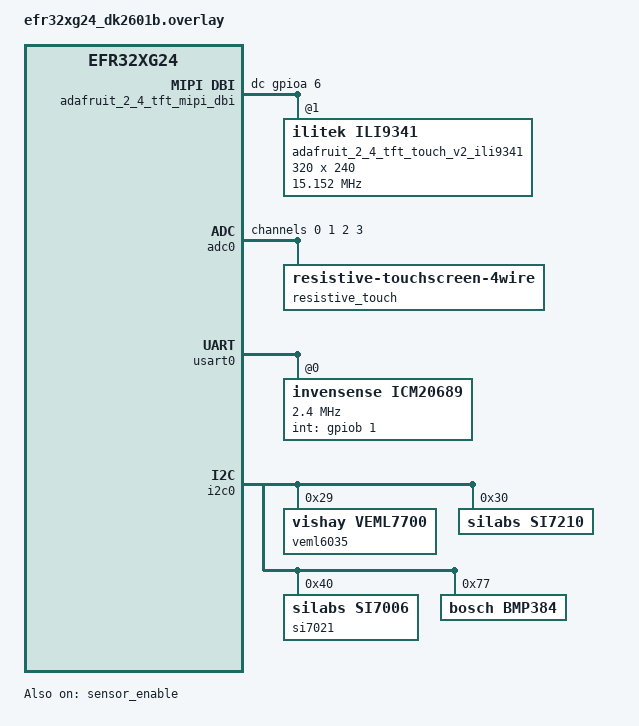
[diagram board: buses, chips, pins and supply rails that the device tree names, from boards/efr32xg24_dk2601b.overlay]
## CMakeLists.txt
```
# SPDX-License-Identifier: Apache-2.0

cmake_minimum_required(VERSION 3.20.0)
# set(CMAKE_OBJECT_PATH_MAX 300)
find_package(Zephyr REQUIRED HINTS $ENV{ZEPHYR_BASE})
project(xg24_sensors_lgvl)

target_sources(app PRIVATE src/main.c)
target_sources(app PRIVATE src/application_ui/ui_events.c)
target_sources(app PRIVATE src/application_ui/ui_helpers.c)
target_sources(app PRIVATE src/application_ui/ui.c)
target_sources(app PRIVATE src/application_ui/components/ui_comp_hook.c)
target_sources(app PRIVATE src/application_ui/images/ui_img_lvgl_logo_78_24_png.c)
target_sources(app PRIVATE src/application_ui/images/ui_img_25_png.c)
target_sources(app PRIVATE src/application_ui/images/ui_img_30_60_png.c)
target_sources(app PRIVATE src/application_ui/images/ui_img_35_67_png.c)
target_sources(app PRIVATE src/application_ui/images/ui_img_1597985048.c)
target_sources(app PRIVATE src/application_ui/screens/ui_ApplicationScreen.c)
target_sources(app PRIVATE src/application_ui/screens/ui_BootScreen.c)
target_sources(app PRIVATE src/application_ui/screens/ui_SettingScreen.c)
target_sources(app PRIVATE src/application_ui/screens/ui_TSCalibrationScreen.c)
target_include_directories(app PRIVATE ./
                                       src/application_ui)
target_sources(app PRIVATE src/bthome_v2.c)
```

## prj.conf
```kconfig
#CONFIG_NO_OPTIMIZATIONS=y

CONFIG_BT=y
CONFIG_BT_PERIPHERAL=y
CONFIG_GPIO=y

CONFIG_CBPRINTF_FP_SUPPORT=y
CONFIG_MAIN_STACK_SIZE=4096

CONFIG_MBEDTLS=y
CONFIG_MBEDTLS_BUILTIN=y
#CONFIG_MBEDTLS_ENTROPY_ENABLED=y
CONFIG_MBEDTLS_PSA_CRYPTO_C=y
CONFIG_MBEDTLS_CIPHER_AES_ENABLED=y
CONFIG_MBEDTLS_CIPHER_CCM_ENABLED=y
CONFIG_MBEDTLS_CIPHER_GCM_ENABLED=y

CONFIG_SENSOR=y
CONFIG_SPI=y
CONFIG_I2C=y
CONFIG_BMP384=y
CONFIG_ICM20689=y

CONFIG_ADC=y
CONFIG_INPUT=y
CONFIG_INPUT_RESISTIVE_TOUCHSCREEN_4WIRE=y

CONFIG_UART_CONSOLE=n
CONFIG_CONSOLE=n
CONFIG_SHELL=n

CONFIG_ILI9341=y
CONFIG_LVGL=y
CONFIG_LV_MEM_CUSTOM=y
CONFIG_LV_USE_LOG=y
CONFIG_LV_USE_LABEL=y
CONFIG_LV_USE_BTN=y
CONFIG_LV_USE_ARC=y
CONFIG_LV_USE_IMG=y
CONFIG_LV_USE_MONKEY=y
CONFIG_LV_FONT_MONTSERRAT_14=y
CONFIG_LV_Z_POINTER_INPUT=y
CONFIG_LV_Z_MEM_POOL_SIZE=30720
CONFIG_LV_FONT_MONTSERRAT_8=y
CONFIG_LV_FONT_MONTSERRAT_10=y
CONFIG_LV_FONT_MONTSERRAT_12=y
CONFIG_LV_FONT_MONTSERRAT_16=y
CONFIG_LV_FONT_MONTSERRAT_18=y
 
CONFIG_DISPLAY=y
CONFIG_LV_COLOR_DEPTH_16=y
CONFIG_LV_Z_BITS_PER_PIXEL=16
CONFIG_LV_COLOR_16_SWAP=y
CONFIG_LV_Z_VDB_SIZE=2
CONFIG_LV_Z_DOUBLE_VDB=y
```

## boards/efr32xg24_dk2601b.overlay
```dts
#include <silabs/gpio_gecko.h>
#include <zephyr/dt-bindings/input/input-resistive-touchscreen-4wire.h>
#include <zephyr/dt-bindings/display/ili9xxx.h>

/ {
	chosen {
		zephyr,display = &adafruit_2_4_tft_touch_v2_ili9341;
		sw0 = &button0;
	};
	
	aliases {
		touchscreen = &resistive_touch;
	};
 
	adafruit_2_4_tft_mipi_dbi {
		compatible = "zephyr,mipi-dbi-spi";
		spi-dev = <&usart0>;
		#address-cells = <1>;
		#size-cells = <0>;
		status = "okay";
		dc-gpios = <&gpioa 6 GPIO_ACTIVE_HIGH>;
		write-only;
		adafruit_2_4_tft_touch_v2_ili9341: ili9341@1 {
			compatible = "ilitek,ili9341";
			mipi-max-frequency = <15151515>;
			reg = <1>;
			height = <240>;
			width = <320>;
			pixel-format = <ILI9XXX_PIXEL_FORMAT_RGB565>;
			// display-inversion;
			rotation = <90>;
			// mipi-hold-cs;
			pwctrla = [39 2C 00 34 02];
			pwctrlb = [00 C1 30];
			pwseqctrl = [64 03 12 81];
			timctrla = [85 00 78];
			timctrlb = [00 00];
			pumpratioctrl = [20];
			pwctrl1 = [23];
			pwctrl2 = [10];
			gamset = [01];
			frmctr1 = [00 18];
			disctrl = [08 82 27 04];
			vmctrl1 = [3e 28];
			vmctrl2 = [86];
			pgamctrl = [0f 31 2b 0c 0e 08 4e f1 37 07 10 03 0e 09 00];
			ngamctrl = [00 0e 14 03 11 07 31 c1 48 08 0f 0c 31 36 0f];
			status = "okay";
		};
	};

	lvgl_pointer {
		compatible = "zephyr,lvgl-pointer-input";
		input = <&resistive_touch>;
		// swap-xy;
		// invert-x;
		// invert-y;
	};
};

&adc0 {
	status = "okay";
	#address-cells = <1>;
	#size-cells = <0>;

	channel@0 {
		reg = <0>;
		zephyr,gain = "ADC_GAIN_1";
		zephyr,reference = "ADC_REF_VDD_1";
		zephyr,acquisition-time = <ADC_ACQ_TIME_DEFAULT>;
		zephyr,resolution = <12>;
		zephyr,input-positive = <(((1 + 8) << 4) | 2)>; // XM = PB2
	};

	channel@1 {
		reg = <1>;
		zephyr,gain = "ADC_GAIN_1";
		zephyr,reference = "ADC_REF_VDD_1";
		zephyr,acquisition-time = <ADC_ACQ_TIME_DEFAULT>;
		zephyr,resolution = <12>;
		zephyr,input-positive = <(((3 + 8) << 4) | 2)>; // XP = PD2
	};

	channel@2 {
		reg = <2>;
		zephyr,gain = "ADC_GAIN_1";
		zephyr,reference = "ADC_REF_VDD_1";
		zephyr,acquisition-time = <ADC_ACQ_TIME_DEFAULT>;
		zephyr,resolution = <12>;
		zephyr,input-positive = <(((1 + 8) << 4) | 3)>; // YM = PB3
	};

	channel@3 {
		reg = <3>;
		zephyr,gain = "ADC_GAIN_1";
		zephyr,reference = "ADC_REF_VDD_1";
		zephyr,acquisition-time = <ADC_ACQ_TIME_DEFAULT>;
		zephyr,resolution = <12>;
		zephyr,input-positive = <(((1 + 8) << 4) | 0)>; // YP = PB0
	};

	resistive_touch: resistive_touch {
		compatible = "resistive-touchscreen-4wire";
		poll-period-ms = <15>;
		h-res = <240>;
		v-res = <320>;
		x-min = <440>;
		x-max = <3340>;
		y-min = <330>;
		y-max = <3360>;
		r-xplate = <200>;
		r-touch-threshold = "600.0";
		XM {
			io-channels = <&adc0 0>;
			zephyr,wire = <INPUT_4WIRE_TS_XM>;
			control-gpios = <&gpiob 2 GPIO_ACTIVE_HIGH>;
		};

		XP {
			io-channels = <&adc0 1>;
			zephyr,wire = <INPUT_4WIRE_TS_XP>;
			control-gpios = <&gpiod 2 GPIO_ACTIVE_HIGH>;
		};

		YM {
			io-channels = <&adc0 2>;
			zephyr,wire = <INPUT_4WIRE_TS_YM>;
			control-gpios = <&gpiob 3 GPIO_ACTIVE_HIGH>;
		};

		YP {
			io-channels = <&adc0 3>;
			zephyr,wire = <INPUT_4WIRE_TS_YP>;
			control-gpios = <&gpiob 0 GPIO_ACTIVE_HIGH>;
		};
  };
};

&usart0 {
  /delete-property/ current-speed;
  /delete-property/ peripheral-id;
  compatible = "silabs,gecko-spi-usart";
  reg = <0x5005C000 0x400>;
  #address-cells = <1>;
  #size-cells = <0>;
  interrupts = <16 0>, <17 0>;
	status = "okay";
	cs-gpios = <&gpioa 7 GPIO_ACTIVE_LOW>, <&gpioa 5 GPIO_ACTIVE_LOW>;

	icm20689@0 {
		compatible = "invensense,icm20689";
		spi-max-frequency = <2400000>;
		reg = <0>;
		int-gpios = <&gpiob 1 GPIO_ACTIVE_HIGH>;
		accel-bw = <1046>;
		accel-fs = <2>;
		gyro-bw = <41>;
		gyro-fs = <250>;
		status = "okay";
	};

};

&pinctrl {
	/* configuration for usart0 device, operating as SPI */
	usart0_default: usart0_default {
		group1 {
			psels = <GECKO_PSEL(SPI_SCK, C, 1)>,
				<GECKO_PSEL(SPI_MOSI, C, 3)>,
				<GECKO_PSEL(SPI_MISO, C, 2)>;
		};
	};
};

&i2c0 {
	status = "okay";

	veml6035: veml6035@29 {
		compatible = "vishay,veml7700";
		reg = <0x29>;
		status = "okay";
	};

	si7210: si7210@30 {
		compatible = "silabs,si7210";
		reg = <0x30>;
		status = "okay";
	};

	si7021: si7021@40 {
		compatible = "silabs,si7006";
		reg = <0x40>;
		status = "okay";
	};
	bmp384: bmp384@77 {
		compatible = "bosch,bmp384";
		reg = <0x77>;
		status = "okay";
	};
};

&sensor_enable {
	startup-delay-us = <100000>;
	status = "okay";
};
```

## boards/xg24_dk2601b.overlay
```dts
/*
 * Copyright (c) 2025 Silicon Laboratories Inc. www.silabs.com
 *
 * SPDX-License-Identifier: Apache-2.0
 */

#include <dt-bindings/clock/silabs/xg24-clock.h>
#include <zephyr/dt-bindings/pinctrl/gecko-pinctrl.h>
#include <zephyr/dt-bindings/input/input-resistive-touchscreen-4wire.h>
#include <zephyr/dt-bindings/display/ili9xxx.h>

/ {
	chosen {
		zephyr,display = &adafruit_2_4_tft_touch_v2_ili9341;
		sw0 = &button0;
		/delete-property/ zephyr,console;
        /delete-property/ zephyr,shell-uart;
	};
	
	aliases {
		touchscreen = &resistive_touch;
	};
 
	adafruit_2_4_tft_mipi_dbi {
		compatible = "zephyr,mipi-dbi-spi";
		spi-dev = <&usart0>;
		#address-cells = <1>;
		#size-cells = <0>;
		status = "okay";
		dc-gpios = <&gpioa 6 GPIO_ACTIVE_HIGH>;
		write-only;
		adafruit_2_4_tft_touch_v2_ili9341: ili9341@1 {
			compatible = "ilitek,ili9341";
			mipi-max-frequency = <20000000>;
			reg = <1>;
			height = <240>;
			width = <320>;
			pixel-format = <ILI9XXX_PIXEL_FORMAT_RGB565>;
			// display-inversion;
			rotation = <90>;
			// mipi-hold-cs;
			pwctrla = [39 2C 00 34 02];
			pwctrlb = [00 C1 30];
			pwseqctrl = [64 03 12 81];
			timctrla = [85 00 78];
			timctrlb = [00 00];
			pumpratioctrl = [20];
			pwctrl1 = [23];
			pwctrl2 = [10];
			gamset = [01];
			frmctr1 = [00 18];
			disctrl = [08 82 27 04];
			vmctrl1 = [3e 28];
			vmctrl2 = [86];
			pgamctrl = [0f 31 2b 0c 0e 08 4e f1 37 07 10 03 0e 09 00];
			ngamctrl = [00 0e 14 03 11 07 31 c1 48 08 0f 0c 31 36 0f];
			status = "okay";
		};
	};

	lvgl_pointer {
		compatible = "zephyr,lvgl-pointer-input";
		input = <&resistive_touch>;
		// swap-xy;
		// invert-x;
		// invert-y;
	};
};

&adc0 {
	status = "okay";
	#address-cells = <1>;
	#size-cells = <0>;

	channel@0 {
		reg = <0>;
		zephyr,gain = "ADC_GAIN_1";
		zephyr,reference = "ADC_REF_VDD_1";
		zephyr,acquisition-time = <ADC_ACQ_TIME_DEFAULT>;
		zephyr,resolution = <12>;
		zephyr,input-positive = <(((1 + 8) << 4) | 2)>; // XM = PB2
	};

	channel@1 {
		reg = <1>;
		zephyr,gain = "ADC_GAIN_1";
		zephyr,reference = "ADC_REF_VDD_1";
		zephyr,acquisition-time = <ADC_ACQ_TIME_DEFAULT>;
		zephyr,resolution = <12>;
		zephyr,input-positive = <(((1 + 8) << 4) | 0)>; // YP = PB0
	};

	resistive_touch: resistive_touch {
		compatible = "resistive-touchscreen-4wire";
		poll-period-ms = <15>;
		h-res = <240>;
		v-res = <320>;
		x-min = <355>;
		x-max = <3422>;
		y-min = <301>;
		y-max = <3335>;
		r-xplate = <200>;
		r-touch-threshold = "600.0";
		xm-gpios = <&gpiob 2 GPIO_ACTIVE_HIGH>;
		xp-gpios = <&gpiod 2 GPIO_ACTIVE_HIGH>;
		ym-gpios = <&gpiob 3 GPIO_ACTIVE_HIGH>;
		yp-gpios = <&gpiob 0 GPIO_ACTIVE_HIGH>;
		XM {
			io-channels = <&adc0 0>;
			zephyr,wire = <INPUT_4WIRE_TS_XM>;
		};

		YP {
			io-channels = <&adc0 1>;
			zephyr,wire = <INPUT_4WIRE_TS_YP>;
		};
	};
};

&usart0 {
	/delete-property/ current-speed;
	compatible = "silabs,gecko-spi-usart";
	pinctrl-0 = <&eusart1_default>;
	pinctrl-names = "default";
	reg = <0x5005C000 0x306c>;
	#address-cells = <1>;
	#size-cells = <0>;
	interrupts = <9 0>, <10 0>;
	interrupt-names = "rx", "tx";
	status = "okay";
	clock-frequency = <18000000>;
	cs-gpios = <&gpioa 7 GPIO_ACTIVE_LOW>, <&gpioa 5 GPIO_ACTIVE_LOW>;
  
	icm20689@0 {
		compatible = "invensense,icm20689";
		spi-max-frequency = <2400000>;
		reg = <0>;
		int-gpios = <&gpiob 1 GPIO_ACTIVE_HIGH>;
		accel-bw = <1046>;
		accel-fs = <2>;
		gyro-bw = <41>;
		gyro-fs = <250>;
		status = "okay";
	};
  
};

&pinctrl {
	eusart1_default: eusart1_default {
		group1 {
			psels = <GECKO_PSEL(SPI_SCK, C, 1)>,
				<GECKO_PSEL(SPI_MOSI, C, 3)>,
				<GECKO_PSEL(SPI_MISO, C, 2)>;
		};
	};

	usart0_default: usart0_default {
		group1 {
			/* configure PD.5 as UART_RX and PD.4 as UART_TX */
			psels = <GECKO_PSEL(UART_TX, D, 4)>,
				<GECKO_PSEL(UART_RX, D, 5)>,
				<GECKO_LOC(UART, 0)>;
		};
	};
};

&i2c0 {
	status = "okay";

	veml6035: veml6035@29 {
		compatible = "vishay,veml7700";
		reg = <0x29>;
		status = "okay";
	};

	si7210: si7210@30 {
		compatible = "silabs,si7210";
		reg = <0x30>;
		status = "okay";
	};

	si7021: si7021@40 {
		compatible = "silabs,si7006";
		reg = <0x40>;
		status = "okay";
	};
	bmp384: bmp384@77 {
		compatible = "bosch,bmp384";
		reg = <0x77>;
		status = "okay";
	};
};

&sensor_enable {
	startup-delay-us = <100000>;
	status = "okay";
};
```

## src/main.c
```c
/***************************************************************************//**
 * @file app.c
 * @brief zephyr application source file.
 *******************************************************************************
 * # License
 * <b>Copyright 2025 Silicon Laboratories Inc. www.silabs.com</b>
 *******************************************************************************
 *
 * SPDX-License-Identifier: Zlib
 *
 * The licensor of this software is Silicon Laboratories Inc.
 *
 * This software is provided \'as-is\', without any express or implied
 * warranty. In no event will the authors be held liable for any damages
 * arising from the use of this software.
 *
 * Permission is granted to anyone to use this software for any purpose,
 * including commercial applications, and to alter it and redistribute it
 * freely, subject to the following restrictions:
 *
 * 1. The origin of this software must not be misrepresented; you must not
 *    claim that you wrote the original software. If you use this software
 *    in a product, an acknowledgment in the product documentation would be
 *    appreciated but is not required.
 * 2. Altered source versions must be plainly marked as such, and must not be
 *    misrepresented as being the original software.
 * 3. This notice may not be removed or altered from any source distribution.
 *
 *******************************************************************************
 * # EXPERIMENTAL QUALITY
 * This code has not been formally tested and is provided as-is. It is not
 * suitable for production environments. In addition, this code will not be
 * maintained and there may be no bug maintenance planned for these resources.
 * Silicon Labs may update projects from time to time.
 ******************************************************************************/
#include <stdio.h>
#include <stdlib.h>
#include <string.h>
#include <zephyr/bluetooth/bluetooth.h>
#include <zephyr/bluetooth/hci.h>
#include <zephyr/bluetooth/conn.h>
#include <zephyr/bluetooth/uuid.h>
#include <zephyr/bluetooth/gatt.h>
#include <zephyr/logging/log.h>
#include "zephyr/shell/shell.h"
#include <zephyr/drivers/sensor.h>
#include <zephyr/drivers/display.h>
#include <lvgl.h>
#include <lvgl_input_device.h>
#include <zephyr/input/input_resistive_touchscreen_4wire.h>

#include "ui.h"
#include "bthome_v2.h"

LOG_MODULE_REGISTER(app);
// ****************************************************************************
//                          Macros
// ****************************************************************************
#define CONVERT_SENSOR_FLOAT_VALUE(val1,          \
                                   val2) (((val1) \
                                           + ((double)(val2) / (1000000))))

#define READ_TEMPERATURE                0x00
#define READ_HUMIDITY                   0x01
#define READ_ILLU                       0x02
#define READ_ROTATION                   0x03
#define READ_ACCELERATION               0x04
#define READ_PRESSURE                   0x05
#define READ_MAGNETIC                   0x06
#define READ_DEFAULT                    0x07

#define TIMER_INTERVAL_DEFAULT_MS       2000

// ****************************************************************************
//                          Static Variables Declarations
// ****************************************************************************
static uint8_t device_name[8] = "ZPBTxG24";
static uint8_t key[] = "12345678123456781234567812345678";
static volatile bool should_update;
static volatile bool load_main_screen;
static volatile uint8_t sensor_read = READ_ACCELERATION;
static volatile uint32_t broadcast_time_count = 0;
static struct k_timer broadcast_timer;

static const struct device *const  si7021_sensor = DEVICE_DT_GET_ANY(
  silabs_si7006);
static const struct device *const  si7210_sensor = DEVICE_DT_GET_ANY(
  silabs_si7210);
static const struct device *const  veml6035_sensor = DEVICE_DT_GET_ANY(
  vishay_veml7700);
static const struct device *const  icm20689_sensor = DEVICE_DT_GET_ANY(
  invensense_icm20689);
static const struct device *const  bmp384_sensor = DEVICE_DT_GET_ANY(
  bosch_bmp384);

// ****************************************************************************
//                          Static Variables Declarations
// ****************************************************************************
static void app_get_sensor_data(void);
static void app_init(void);

/***************************************************************************//**
 *  Application broadcast timer handle.
 ******************************************************************************/
static void app_broadcast_timer_handle(struct k_timer *timer_id)
{
  ARG_UNUSED(timer_id);

  switch (sensor_read) {
    case READ_TEMPERATURE:
      sensor_read = READ_HUMIDITY;
      break;
    case READ_HUMIDITY:
      sensor_read = READ_ILLU;
      break;
    case READ_ILLU:
      sensor_read = READ_MAGNETIC;
      break;
    case READ_MAGNETIC:
      sensor_read = READ_PRESSURE;
      break;
    case READ_PRESSURE:
      sensor_read = READ_ROTATION;
      break;
    case READ_ROTATION:
      sensor_read = READ_ACCELERATION;
      break;
    case READ_ACCELERATION:
      sensor_read = READ_TEMPERATURE;
      break;
  }

  if (broadcast_enabled) {
    broadcast_time_count += (broadcast_interval) / 1000;
    broadcast_time_count =
      (broadcast_time_count > 99999) ? 0 : broadcast_time_count;
  }

  if (!load_main_screen) {
    lv_disp_load_scr(ui_ApplicationScreen);
    load_main_screen = true;
  }
  should_update = true;
}

/***************************************************************************//**
 *  Application get sensor data.
 ******************************************************************************/
static void app_get_sensor_data(void)
{
  char buffer[10];
  struct sensor_value sensor_val, icm_val[3];

  if (should_update) {
    switch (sensor_read) {
      case READ_TEMPERATURE:
        sensor_sample_fetch(si7021_sensor);
        sensor_channel_get(si7021_sensor, SENSOR_CHAN_AMBIENT_TEMP,
                           &sensor_val);
        bthome_v2_add_measurement_float_value(CONVERT_SENSOR_FLOAT_VALUE(
                                                sensor_val.val1,
                                                sensor_val.val2),
                                              TEMPERTAURE_OBJ_ID,
                                              broadcast_enabled);
        memset(buffer, 0, 10);
        sprintf(buffer, "%.2lf",
                CONVERT_SENSOR_FLOAT_VALUE(sensor_val.val1, sensor_val.val2));
        lv_label_set_text(ui_labelTempValue, buffer);
        break;
      case READ_HUMIDITY:
        sensor_channel_get(si7021_sensor, SENSOR_CHAN_HUMIDITY, &sensor_val);
        bthome_v2_add_measurement_float_value(CONVERT_SENSOR_FLOAT_VALUE(
                                                sensor_val.val1,
                                                sensor_val.val2),
                                              HUMIDITY_OBJ_ID,
                                              broadcast_enabled);
        memset(buffer, 0, 10);
        sprintf(buffer, "%.2lf",
                CONVERT_SENSOR_FLOAT_VALUE(sensor_val.val1, sensor_val.val2));
        lv_label_set_text(ui_labelhumidityValue, buffer);
        break;
      case READ_ILLU:
        sensor_sample_fetch(veml6035_sensor);
        sensor_channel_get(veml6035_sensor, SENSOR_CHAN_LIGHT, &sensor_val);
        bthome_v2_add_measurement_float_value(CONVERT_SENSOR_FLOAT_VALUE(
                                                sensor_val.val1,
                                                sensor_val.val2),
                                              ILLUM_OBJ_ID,
                                              broadcast_enabled);
        memset(buffer, 0, 10);
        sprintf(buffer, "%.2lf",
                CONVERT_SENSOR_FLOAT_VALUE(sensor_val.val1, sensor_val.val2));
        lv_label_set_text(ui_labelVEMLAmbientLightValue, buffer);
        break;
      case READ_MAGNETIC:
        sensor_sample_fetch(si7210_sensor);
        sensor_channel_get(si7210_sensor, SENSOR_CHAN_MAGN_Z, &sensor_val);
        memset(buffer, 0, 10);
        sprintf(buffer, "%.2lf",
                CONVERT_SENSOR_FLOAT_VALUE(sensor_val.val1, sensor_val.val2));
        lv_label_set_text(ui_labelsi7210HallEffectValue, buffer);
        break;
      case READ_PRESSURE:
        sensor_sample_fetch_chan(bmp384_sensor, SENSOR_CHAN_PRESS);
        sensor_channel_get(bmp384_sensor, SENSOR_CHAN_PRESS, &sensor_val);
        bthome_v2_add_measurement_float_value(CONVERT_SENSOR_FLOAT_VALUE(
                                                sensor_val.val1,
                                                sensor_val.val2),
                                              PRESSURE_OBJ_ID,
                                              broadcast_enabled);
        memset(buffer, 0, 10);
        sprintf(buffer, "%.2lf",
                CONVERT_SENSOR_FLOAT_VALUE(sensor_val.val1, sensor_val.val2));
        lv_label_set_text(ui_labelBMP384Value, buffer);
        break;
      case READ_ROTATION:
        sensor_sample_fetch_chan(icm20689_sensor, SENSOR_CHAN_GYRO_XYZ);
        sensor_channel_get(icm20689_sensor, SENSOR_CHAN_GYRO_XYZ, icm_val);
        bthome_v2_add_measurement_float_value(CONVERT_SENSOR_FLOAT_VALUE(
                                                icm_val[0].val1,
                                                icm_val[0].val2),
                                              ROTATION_OBJ_ID,
                                              broadcast_enabled);
        bthome_v2_add_measurement_float_value(CONVERT_SENSOR_FLOAT_VALUE(
                                                icm_val[1].val1,
                                                icm_val[1].val2),
                                              ROTATION_OBJ_ID,
                                              broadcast_enabled);
        bthome_v2_add_measurement_float_value(CONVERT_SENSOR_FLOAT_VALUE(
                                                icm_val[2].val1,
                                                icm_val[2].val2),
                                              ROTATION_OBJ_ID,
                                              broadcast_enabled);
        memset(buffer, 0, 10);
        sprintf(buffer, "%.2lf",
                CONVERT_SENSOR_FLOAT_VALUE(icm_val[0].val1, icm_val[0].val2));
        lv_label_set_text(ui_labelorientXvalue, buffer);
        memset(buffer, 0, 10);
        sprintf(buffer, "%.2lf",
                CONVERT_SENSOR_FLOAT_VALUE(icm_val[1].val1, icm_val[1].val2));
        lv_label_set_text(ui_labelorientYvalue, buffer);
        memset(buffer, 0, 10);
        sprintf(buffer, "%.2lf",
                CONVERT_SENSOR_FLOAT_VALUE(icm_val[2].val1, icm_val[2].val2));
        lv_label_set_text(ui_labelorientZvalue, buffer);
        break;
      case READ_ACCELERATION: {
        double acc_data;
        sensor_sample_fetch_chan(icm20689_sensor, SENSOR_CHAN_ACCEL_XYZ);
        sensor_channel_get(icm20689_sensor, SENSOR_CHAN_ACCEL_XYZ, icm_val);
        acc_data = CONVERT_SENSOR_FLOAT_VALUE(icm_val[0].val1, icm_val[0].val2);
        bthome_v2_add_measurement_float_value((acc_data > 0) ? acc_data : 0,
                                              ACCELERATION_OBJ_ID,
                                              broadcast_enabled);
        memset(buffer, 0, 10);
        sprintf(buffer, "%.2lf", (acc_data > 0) ? acc_data : 0);
        lv_label_set_text(ui_labelg1Value, buffer);
        acc_data = CONVERT_SENSOR_FLOAT_VALUE(icm_val[1].val1, icm_val[1].val2);
        bthome_v2_add_measurement_float_value((acc_data > 0) ? acc_data : 0,
                                              ACCELERATION_OBJ_ID,
                                              broadcast_enabled);
        memset(buffer, 0, 10);
        sprintf(buffer, "%.2lf", (acc_data > 0) ? acc_data : 0);
        lv_label_set_text(ui_labelg2Value, buffer);
        acc_data = CONVERT_SENSOR_FLOAT_VALUE(icm_val[2].val1, icm_val[2].val2);
        bthome_v2_add_measurement_float_value((acc_data > 0) ? acc_data : 0,
                                              ACCELERATION_OBJ_ID,
                                              broadcast_enabled);
        memset(buffer, 0, 10);
        sprintf(buffer, "%.2lf", (acc_data > 0) ? acc_data : 0);
        lv_label_set_text(ui_labelg3Value, buffer);
      }
      break;
      default:
        break;
    }
    should_update = false;
    if (broadcast_enabled) {
      memset(buffer, 0, 10);
      sprintf(buffer, "%d", broadcast_time_count);
      lv_label_set_text(ui_labelsecond, buffer);
      if (lv_obj_has_flag(ui_labelsecond, LV_OBJ_FLAG_HIDDEN)) {
        lv_obj_clear_flag(ui_labelsecond, LV_OBJ_FLAG_HIDDEN);
        lv_label_set_text(ui_labelsecago, "sec ago");
        lv_obj_set_x(ui_labelsecago, 136);
        lv_obj_set_y(ui_labelsecago, 108);
        lv_obj_set_style_text_color(ui_labelsecago,
                                    lv_color_hex(0x000000),
                                    LV_PART_MAIN | LV_STATE_DEFAULT);
      }
    }
  }
}

/***************************************************************************//**
 *  Application BTHome device configuration.
 ******************************************************************************/
static void app_bthome_configure_device(void)
{
  uint16_t temp;
  const char *text;

  if (config_broadcast_interval) {
    temp = atoi(lv_textarea_get_text(ui_txtboardcastperiod));
    broadcast_interval = temp;
    k_timer_start(&broadcast_timer, K_MSEC(broadcast_interval),
                  K_MSEC(broadcast_interval));
    config_broadcast_interval = false;
  } else if (config_device_name) {
    text = lv_textarea_get_text(ui_txtdevicename);
    bthome_v2_set_device_name(text, strlen(text));
    config_device_name = false;
  } else if (config_encryption_key) {
    text = lv_textarea_get_text(ui_txtencryptkey);
    bthome_v2_set_key(text);
    config_encryption_key = false;
  }
  if (!broadcast_enabled) {
    broadcast_time_count = 0;
    if (!lv_obj_has_flag(ui_labelsecond, LV_OBJ_FLAG_HIDDEN)) {
      lv_obj_add_flag(ui_labelsecond, LV_OBJ_FLAG_HIDDEN);
      lv_label_set_text(ui_labelsecago, "Disabled");
      lv_obj_set_x(ui_labelsecago, 119);
      lv_obj_set_y(ui_labelsecago, 108);
      lv_obj_set_style_text_color(ui_labelsecago,
                                  lv_color_hex(0xFF0000),
                                  LV_PART_MAIN | LV_STATE_DEFAULT);
    }
  }
}

/***************************************************************************//**
 *  Application Init.
 ******************************************************************************/
static void app_init(void)
{
  if ((si7021_sensor == NULL) || (si7210_sensor == NULL)
      || (veml6035_sensor == NULL) || (icm20689_sensor == NULL)
      || (bmp384_sensor == NULL)) {
    LOG_ERR("Device not found!");
    return;
  }

  if (!device_is_ready(si7021_sensor) || !device_is_ready(si7210_sensor)
      || !device_is_ready(veml6035_sensor)
      || !device_is_ready(icm20689_sensor) || !device_is_ready(bmp384_sensor)) {
    LOG_ERR("Devices are not ready!");
    return;
  }

  LOG_INF("Application initialization done.\n");
}

/***************************************************************************//**
 *  Main function.
 ******************************************************************************/
int main(void)
{
  int ret;
  const struct device *display_dev;

  display_dev = DEVICE_DT_GET(DT_CHOSEN(zephyr_display));
  if (!device_is_ready(display_dev)) {
    LOG_ERR("Device not ready, aborting test");
    return 0;
  }

  display_blanking_off(display_dev);

  app_init();
  ui_init();

  ret = bt_enable(NULL);
  if (ret) {
    printk("Bluetooth init failed (err %d)\n", ret);
    return 0;
  }

  bthome_v2_set_device_name(device_name, sizeof(device_name));
  bthome_v2_set_key(key);

  k_timer_init(&broadcast_timer, app_broadcast_timer_handle, NULL);
  k_timer_start(&broadcast_timer, K_MSEC(broadcast_interval),
                K_MSEC(broadcast_interval));

  while (1) {
    app_get_sensor_data();
    if (lv_scr_act() == ui_SettingScreen) {
      app_bthome_configure_device();
    }
    lv_task_handler();
    k_sleep(K_MSEC(1));
  }
  return 0;
}
```

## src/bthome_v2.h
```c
/***************************************************************************//**
 * @file bthome_v2.h
 * @brief zephyr bthome v2 header file.
 *******************************************************************************
 * # License
 * <b>Copyright 2025 Silicon Laboratories Inc. www.silabs.com</b>
 *******************************************************************************
 *
 * SPDX-License-Identifier: Zlib
 *
 * The licensor of this software is Silicon Laboratories Inc.
 *
 * This software is provided \'as-is\', without any express or implied
 * warranty. In no event will the authors be held liable for any damages
 * arising from the use of this software.
 *
 * Permission is granted to anyone to use this software for any purpose,
 * including commercial applications, and to alter it and redistribute it
 * freely, subject to the following restrictions:
 *
 * 1. The origin of this software must not be misrepresented; you must not
 *    claim that you wrote the original software. If you use this software
 *    in a product, an acknowledgment in the product documentation would be
 *    appreciated but is not required.
 * 2. Altered source versions must be plainly marked as such, and must not be
 *    misrepresented as being the original software.
 * 3. This notice may not be removed or altered from any source distribution.
 *
 *******************************************************************************
 * # EXPERIMENTAL QUALITY
 * This code has not been formally tested and is provided as-is. It is not
 * suitable for production environments. In addition, this code will not be
 * maintained and there may be no bug maintenance planned for these resources.
 * Silicon Labs may update projects from time to time.
 ******************************************************************************/

#ifndef _BTHOME_V2_H
#define _BTHOME_V2_H

#define TEMPERTAURE_OBJ_ID              0x02
#define HUMIDITY_OBJ_ID                 0x03
#define ILLUM_OBJ_ID                    0x05
#define ROTATION_OBJ_ID                 0x3F
#define ACCELERATION_OBJ_ID             0x51
#define PRESSURE_OBJ_ID                 0x04

/**
 * @brief Set device name function
 *
 * @param device_name Device name
 * @param length Length of device name
 */
void bthome_v2_set_device_name(const char *device_name, uint8_t length);

/**
 * @brief Set the encryption key in BTHome v2 format
 *
 * @param key Encryption key
 * @return uint8_t Status of the function
 */
uint8_t bthome_v2_set_key(uint8_t const * const key);

/**
 * @brief Add the measurement float value to the advertising package.
 *
 * @param value Sensor value
 * @param obj_id Object ID
 * @param broadcast_enabled Enabled/disbale broadcast
 */
void bthome_v2_add_measurement_float_value(float value,
                                           uint8_t obj_id,
                                           bool broadcast_enabled);

/**
 * @brief Build advertising package according to BTHome v2 format
 *
 * @param obj_id  Object ID
 */
void bthome_v2_build_packet(uint8_t obj_id);

/**
 * @brief Update the advertising package.
 *
 * @param obj_id Object ID
 */
void bthome_v2_update_data(uint8_t obj_id);

#endif /* _BTHOME_V2_H*/
```
